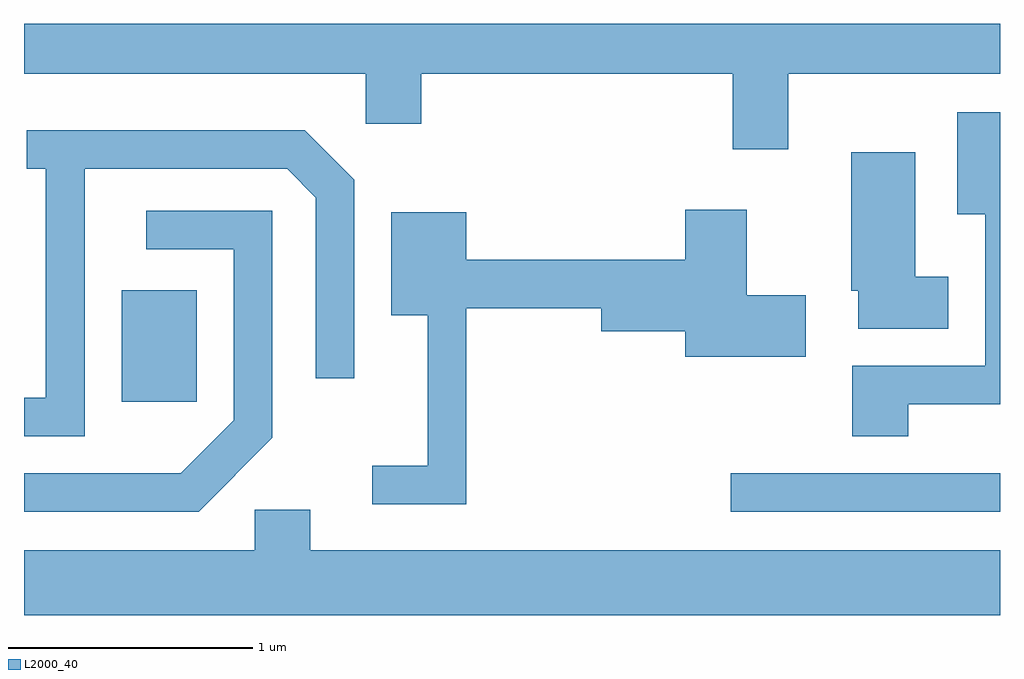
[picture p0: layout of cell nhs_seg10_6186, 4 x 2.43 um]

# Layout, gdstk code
import gdstk
lib = gdstk.Library(unit=1e-6, precision=1e-09)
def R(c, l, rs):  # rectangles x0, y0, x1, y1
    for r in rs: c.add(gdstk.rectangle(r[:2], r[2:], *l))
def P(c, l, *ps):  # polygons
    for p in ps: c.add(gdstk.Polygon(p, *l))
L2000_40 = (2000, 40)

nhs_seg10_6186 = lib.new_cell('nhs_seg10_6186')
R(nhs_seg10_6186, L2000_40, [(370.508,2156.521,371.611,2156.679), (368.011,2156.971,368.319,2157.429)])
P(nhs_seg10_6186, L2000_40, [(370.744,2158.316),(371.611,2158.316),(371.611,2158.522),(367.611,2158.522),(367.611,2158.316),(369.011,2158.316),(369.011,2158.111),(369.239,2158.111),(369.239,2158.316),(370.516,2158.316),(370.516,2158.006),(370.744,2158.006)],
  [(371.234,2156.961),(371.611,2156.961),(371.611,2158.159),(371.436,2158.159),(371.436,2157.741),(371.551,2157.741),(371.551,2157.119),(371.006,2157.119),(371.006,2156.831),(371.234,2156.831)],
  [(367.859,2157.926),(368.689,2157.926),(368.806,2157.809),(368.806,2157.068),(368.964,2157.068),(368.964,2157.882),(368.762,2158.084),(367.623,2158.084),(367.623,2157.926),(367.701,2157.926),(367.701,2156.989),(367.611,2156.989),(367.611,2156.831),(367.859,2156.831)],
  [(371.399,2157.484),(371.264,2157.484),(371.264,2157.994),(371.001,2157.994),(371.001,2157.426),(371.031,2157.426),(371.031,2157.271),(371.399,2157.271)],
  [(369.424,2157.356),(369.976,2157.356),(369.976,2157.261),(370.321,2157.261),(370.321,2157.156),(370.814,2157.156),(370.814,2157.409),(370.574,2157.409),(370.574,2157.759),(370.321,2157.759),(370.321,2157.554),(369.424,2157.554),(369.424,2157.749),(369.116,2157.749),(369.116,2157.326),(369.266,2157.326),(369.266,2156.709),(369.038,2156.709),(369.038,2156.551),(369.424,2156.551)],
  [(368.629,2156.824),(368.629,2157.754),(368.113,2157.754),(368.113,2157.596),(368.471,2157.596),(368.471,2156.897),(368.254,2156.679),(367.611,2156.679),(367.611,2156.521),(368.327,2156.521)],
  [(371.611,2156.364),(368.784,2156.364),(368.784,2156.529),(368.556,2156.529),(368.556,2156.364),(367.611,2156.364),(367.611,2156.096),(371.611,2156.096)])

lib.write_gds('nhs_seg10_6186.gds')
